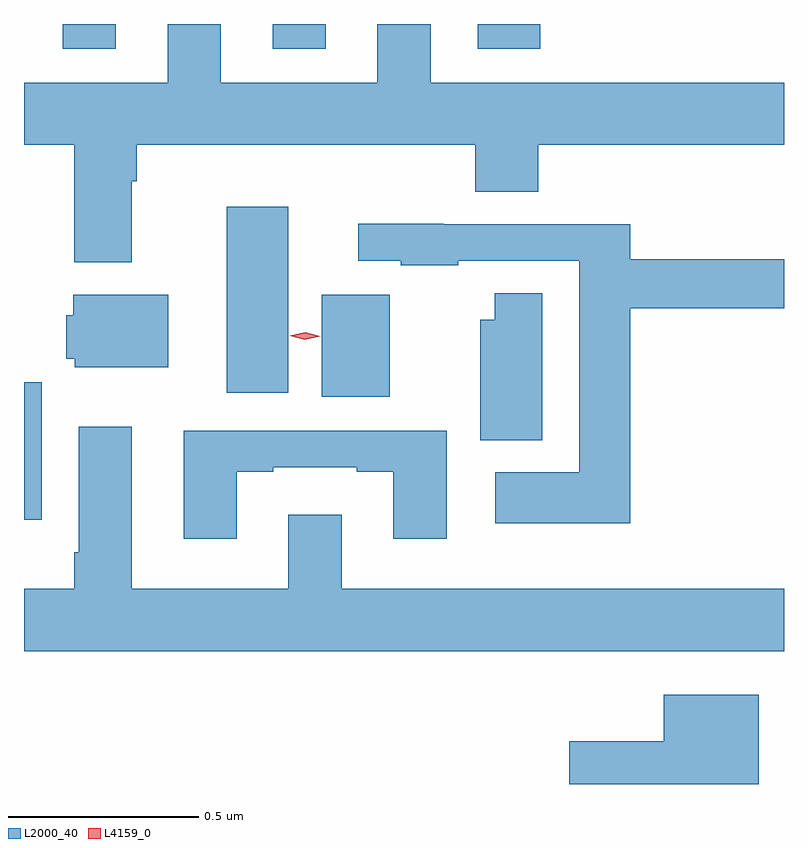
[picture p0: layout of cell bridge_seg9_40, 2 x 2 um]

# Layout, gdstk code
import gdstk
lib = gdstk.Library(unit=1e-6, precision=1e-09)
def R(c, l, rs):  # rectangles x0, y0, x1, y1
    for r in rs: c.add(gdstk.rectangle(r[:2], r[2:], *l))
def P(c, l, *ps):  # polygons
    for p in ps: c.add(gdstk.Polygon(p, *l))
L2000_40 = (2000, 40)
L4159_0 = (4159, 0)

bridge_seg9_40 = lib.new_cell('bridge_seg9_40')
R(bridge_seg9_40, L2000_40, [(924.473,1180.782,924.52,1181.143), (925.256,1181.105,925.435,1181.374), (925.007,1181.115,925.168,1181.605), (924.575,1182.021,924.715,1182.086), (925.127,1182.021,925.267,1182.086), (925.667,1182.021,925.832,1182.086)])
P(bridge_seg9_40, L2000_40, [(924.757,1181.672),(924.77,1181.672),(924.77,1181.768),(925.661,1181.768),(925.661,1181.644),(925.826,1181.644),(925.826,1181.768),(926.473,1181.768),(926.473,1181.932),(925.543,1181.932),(925.543,1182.086),(925.403,1182.086),(925.403,1181.932),(924.991,1181.932),(924.991,1182.086),(924.851,1182.086),(924.851,1181.932),(924.473,1181.932),(924.473,1181.768),(924.605,1181.768),(924.605,1181.459),(924.757,1181.459)],
  [(926.069,1181.338),(926.473,1181.338),(926.473,1181.467),(926.069,1181.467),(926.069,1181.559),(925.577,1181.559),(925.577,1181.561),(925.353,1181.561),(925.353,1181.463),(925.465,1181.463),(925.465,1181.451),(925.616,1181.451),(925.616,1181.463),(925.934,1181.463),(925.934,1180.906),(925.713,1180.906),(925.713,1180.772),(926.069,1180.772)],
  [(925.837,1181.378),(925.712,1181.378),(925.712,1181.308),(925.673,1181.308),(925.673,1180.991),(925.837,1180.991)],
  [(924.853,1181.374),(924.602,1181.374),(924.602,1181.319),(924.584,1181.319),(924.584,1181.205),(924.606,1181.205),(924.606,1181.183),(924.853,1181.183)],
  [(926.473,1180.6),(925.309,1180.6),(925.309,1180.795),(925.169,1180.795),(925.169,1180.6),(924.757,1180.6),(924.757,1181.026),(924.617,1181.026),(924.617,1180.696),(924.605,1180.696),(924.605,1180.6),(924.473,1180.6),(924.473,1180.436),(926.473,1180.436)],
  [(925.033,1180.908),(925.129,1180.908),(925.129,1180.92),(925.349,1180.92),(925.349,1180.908),(925.445,1180.908),(925.445,1180.731),(925.585,1180.731),(925.585,1181.016),(924.893,1181.016),(924.893,1180.731),(925.033,1180.731)],
  [(926.407,1180.321),(926.156,1180.321),(926.156,1180.198),(925.908,1180.198),(925.908,1180.086),(926.407,1180.086)])
P(bridge_seg9_40, L4159_0, [(925.212,1181.255),(925.172,1181.265),(925.172,1181.265),(925.172,1181.265),(925.213,1181.275),(925.253,1181.264),(925.253,1181.264),(925.253,1181.264)])

lib.write_gds('bridge_seg9_40.gds')
